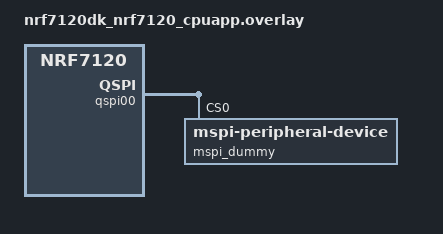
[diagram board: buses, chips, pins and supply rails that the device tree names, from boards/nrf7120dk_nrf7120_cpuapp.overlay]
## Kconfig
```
# Copyright (c) 2026 Nordic Semiconductor ASA
#
# SPDX-License-Identifier: Apache-2.0
#

mainmenu "MSPI Throughput Sample application"

config MSPI_THROUGHPUT_TOTAL_TRANSFER_SIZE
	int "Total transfer size in bytes"
	default 32768
	range 1024 1048576
	help
	  Total amount of data to transfer during each test case.
	  This value determines how much data is transferred for each
	  buffer size and packet count combination.
	  Default is 32 KB.

config MSPI_THROUGHPUT_CLOCK_FREQ
	int "MSPI clock frequency in Hz"
	default 32000000
	help
	  MSPI controller clock frequency in Hz.
	  This value determines the ideal throughput calculation and
	  sets the MSPI clock frequency.

source "Kconfig.zephyr"
```

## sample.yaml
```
sample:
  name: MSPI Throughput Sample
tests:
  sample.drivers.mspi.throughput:
    tags:
      - mspi
    filter: dt_compat_enabled("nordic,nrf-qspi-v2")
    harness: console
    harness_config:
      type: multi_line
      ordered: true
    depends_on: mspi
```

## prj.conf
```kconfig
#
# Copyright (c) 2026 Nordic Semiconductor ASA
#
# SPDX-License-Identifier: Apache-2.0
#

# Enable MSPI driver and DMA support
CONFIG_MSPI=y
CONFIG_MSPI_DMA=y

# Memory and stack configuration for very limited RAM
CONFIG_HEAP_MEM_POOL_SIZE=1024
CONFIG_MAIN_STACK_SIZE=4096

# Enable floating point for throughput calculations
CONFIG_FPU=y

# Enable CPU load measurement
CONFIG_CPU_LOAD=y
```

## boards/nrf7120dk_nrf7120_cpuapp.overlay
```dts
/*
 * Copyright (c) 2026 Nordic Semiconductor ASA
 *
 * SPDX-License-Identifier: Apache-2.0
 */

/ {
	aliases {
		dev0 = &mspi_dummy;
	};
};

&uart00 {
	status = "disabled";
};

&spi00 {
	status = "disabled";
};

&qspi00 {
	status = "okay";
	op-mode = "MSPI_OP_MODE_CONTROLLER";

	/* Dummy device so the controller has a defined target (dev_idx 0) for throughput tests. */
	mspi_dummy: mspi_dummy@0 {
		compatible = "zephyr,mspi-peripheral-device";
		reg = <0>;
		mspi-max-frequency = <32000000>;
	};
};
```

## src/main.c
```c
/*
 * Copyright (c) 2026 Nordic Semiconductor ASA
 *
 * SPDX-License-Identifier: Apache-2.0
 */

#include <zephyr/device.h>
#include <zephyr/devicetree.h>
#include <zephyr/drivers/mspi.h>
#include <zephyr/kernel.h>
#if defined(CONFIG_CPU_LOAD)
#include <zephyr/debug/cpu_load.h>
#endif

/* Test Configuration */
#define MSPI_CONTROLLER_NODE	DT_BUS(DT_ALIAS(dev0))
#define MSPI_TARGET_DEVICE_NODE DT_ALIAS(dev0)

#define MSPI_CLOCK_FREQ		CONFIG_MSPI_THROUGHPUT_CLOCK_FREQ
#define MBYTE				(1024U * 1024U)   /* bytes per MiB */
#define TOTAL_TRANSFER_SIZE CONFIG_MSPI_THROUGHPUT_TOTAL_TRANSFER_SIZE

/* bits per second in quad mode: clk * 4
 * bytes per second: (clk * 4) / 8  == clk/2
 */
#define IDEAL_BYTES_PER_SEC  ((uint64_t)MSPI_CLOCK_FREQ / 2ULL)

/* ideal MiB/s */
#define IDEAL_THROUGHPUT_MBYTE	((double)IDEAL_BYTES_PER_SEC / (double)MBYTE)

/* Test Parameters */
#define BUFFER_SIZES_COUNT  7
#define PACKET_SIZES_COUNT 3
#define TOTAL_TESTS (BUFFER_SIZES_COUNT * PACKET_SIZES_COUNT)

/* Making sure at least 1 command and address byte as not all MSPI IP's will support data only
 * transfers
 */
#define ADDR_LEN 1
#define CMD_LEN 1

#define MAX_BUFFER_SIZE 2304
#define MAX_PACKETS 16

/* Buffer sizes to test (in bytes) */
static const uint32_t buffer_sizes[BUFFER_SIZES_COUNT] = {
	4, 16, 64, 256, 1024, 1500, MAX_BUFFER_SIZE
};

/* Packet counts to test */
static const uint32_t packet_counts[PACKET_SIZES_COUNT] = {
	1, 4, MAX_PACKETS
};

/* Device references */
static const struct device *mspi_controller = DEVICE_DT_GET(MSPI_CONTROLLER_NODE);

/* Device ID from the target peripheral device node */
static const struct mspi_dev_id controller_id = MSPI_DEVICE_ID_DT(MSPI_TARGET_DEVICE_NODE);

static uint8_t tx_buffer[MAX_BUFFER_SIZE] __aligned(4);
static struct mspi_xfer_packet tx_packets[MAX_PACKETS];

/* Performance measurement variables */
static uint32_t transfer_start_cycles;
static uint32_t transfer_end_cycles;

struct test_result {
	uint16_t buffer_size;
	uint8_t packet_count;
	uint32_t transfer_cycles;	/* Store time in CPU cycles for high precision */
	double throughput_mbps;	/* Throughput in MB/s*/
#if defined(CONFIG_CPU_LOAD)
	double cpu_load_per;	  /* CPU load (%) */
#endif
	uint16_t efficiency;	/* (Actual xfer / ideal) * 100 (%) */
};

static struct test_result test_results[TOTAL_TESTS];
static uint32_t test_result_index;
#if defined(CONFIG_CPU_LOAD)
static int cpu_load_per_mille;
#endif

/* Forward declarations */
static void setup_test_buffers(void);
static int configure_mspi_device(void);
static int run_single_test(uint32_t buffer_size, uint32_t packet_count);
static void calculate_and_store_results(uint32_t buffer_size,
					uint32_t packet_count,
					uint32_t num_transfers,
					uint32_t total_buffers,
					uint32_t transfer_cycles);
static void print_test_results(void);
static void print_summary_report(void);

/* Setup test buffers with pattern */
static void setup_test_buffers(void)
{
	for (uint32_t i = 0; i < sizeof(tx_buffer); i++) {
		tx_buffer[i] = (uint8_t)(i);
	}
}

/* Configure MSPI devices for loopback test */
static int configure_mspi_device(void)
{
	int rc;

	struct mspi_dev_cfg controller_cfg = {
		.ce_num = 1,
		.freq = MSPI_CLOCK_FREQ,
		.io_mode = MSPI_IO_MODE_QUAD,
		.data_rate = MSPI_DATA_RATE_SINGLE,
		.cpp = MSPI_CPP_MODE_0,
		.endian = MSPI_XFER_BIG_ENDIAN,
		.ce_polarity = MSPI_CE_ACTIVE_LOW,
		.cmd_length = CMD_LEN,
		.addr_length = ADDR_LEN,
	};

	rc = mspi_dev_config(mspi_controller, &controller_id, MSPI_DEVICE_CONFIG_ALL,
			     &controller_cfg);
	if (rc != 0) {
		printk("Failed to configure MSPI controller: %d\n", rc);
		return rc;
	}

	return 0;
}

/* Run a single test case */
static int run_single_test(uint32_t buffer_size,
			   uint32_t packet_count)
{
	int rc;
	uint32_t total_buffers = TOTAL_TRANSFER_SIZE / buffer_size;
	uint32_t remaining_bytes = TOTAL_TRANSFER_SIZE % buffer_size;

	if (remaining_bytes > 0) {
		total_buffers++; /* Need one more buffer for remaining bytes */
	}

	/* Calculate how many transfers we need to make */
	uint32_t num_transfers = (total_buffers + packet_count - 1) / packet_count;

	if (packet_count > MAX_PACKETS) {
		printk("Packet count too high: %u (max %u)\n", packet_count, MAX_PACKETS);
		return -EINVAL;
	}

	/* Setup packets */
	for (uint32_t i = 0; i < MAX_PACKETS; i++) {
		tx_packets[i].dir = MSPI_TX;
		tx_packets[i].cmd = 0x42;
		tx_packets[i].address = 0x12;
		tx_packets[i].data_buf = tx_buffer;
		/* tx_packets[i].num_bytes will be set inside the timing loop */
	}

	/* Setup tx and rx transfer descriptions */
	struct mspi_xfer tx_xfer = {
		.xfer_mode = MSPI_DMA,
		/* tx_xfer.packets will be set inside the timing loop */
		/* tx_xfer.num_packet will be set inside the timing loop */
		.timeout = 10000,
		.cmd_length = CMD_LEN,
		.addr_length = ADDR_LEN,
		.async = false,
		.tx_dummy = 0,
	};

	printk("Total buffers = %u, Remaining bytes = %u, number of transfers = %u\n",
		total_buffers, remaining_bytes, num_transfers);

	/* Start performance measurement AFTER all packet setup is complete */
	transfer_start_cycles = k_cycle_get_32();
#if defined(CONFIG_CPU_LOAD)
	(void)cpu_load_get(true); /* Reset CPU load measurement */
#endif

	for (uint32_t transfer_idx = 0; transfer_idx < num_transfers; transfer_idx++) {
		uint32_t start_buffer = transfer_idx * packet_count;
		uint32_t end_buffer = MIN(start_buffer + packet_count, total_buffers);
		uint32_t current_buffers = end_buffer - start_buffer;

		/* Only update the num_bytes field - everything else is pre-configured */
		for (uint32_t i = 0; i < current_buffers; i++) {
			uint32_t buffer_idx = start_buffer + i;
			uint32_t current_buffer_size = (buffer_idx == total_buffers - 1 &&
							remaining_bytes > 0) ?
							remaining_bytes : buffer_size;

			tx_packets[i].num_bytes = current_buffer_size;
		}
		tx_xfer.packets = tx_packets;
		tx_xfer.num_packet = current_buffers;

		rc = mspi_transceive(mspi_controller, &controller_id, &tx_xfer);
		if (rc != 0) {
			printk("Failed to start transfer chunk %u: %d\n", transfer_idx, rc);
			return rc;
		}
	}
#if defined(CONFIG_CPU_LOAD)
	cpu_load_per_mille = cpu_load_get(true); /* Get load in per mille, reset for next test */
#endif
	transfer_end_cycles = k_cycle_get_32();

	calculate_and_store_results(buffer_size, packet_count, num_transfers, total_buffers,
				    (uint32_t)(transfer_end_cycles - transfer_start_cycles));

	printk("Test completed: buf=%u, desc=%u, cycles=%u\n",
		buffer_size, packet_count,
		(unsigned int)(transfer_end_cycles - transfer_start_cycles));

	return 0;
}

static void calculate_and_store_results(uint32_t buffer_size,
					uint32_t packet_count,
					uint32_t num_transfers,
					uint32_t total_buffers,
					uint32_t transfer_cycles)
{
	if (test_result_index >= ARRAY_SIZE(test_results)) {
		printk("Test results array full\n");
		return;
	}

	struct test_result *result = &test_results[test_result_index];

	result->buffer_size = (uint16_t)buffer_size;
	result->packet_count = (uint8_t)packet_count;
	result->transfer_cycles = transfer_cycles;

	/* Calculate throughput in MB/s */
	uint64_t timer_freq = (uint64_t)sys_clock_hw_cycles_per_sec();
	double transfer_time_sec = (double)(transfer_cycles) / (double)timer_freq;

	result->throughput_mbps  = (double)(TOTAL_TRANSFER_SIZE +
		(num_transfers*(ADDR_LEN + CMD_LEN))) / MBYTE / transfer_time_sec;

	double efficiency = (double)(result->throughput_mbps)/IDEAL_THROUGHPUT_MBYTE;
	double estimated_latency_us = 1000000.0 * (transfer_time_sec * (1.0-efficiency)
				/ (double)total_buffers);

	printk("Total transfer time = %lf s\n", transfer_time_sec);
	printk("Throughput = %lf mb/s\n", result->throughput_mbps);
	printk("Efficiency = %lf %%\n", efficiency * 100);
	printk("Estimated latency us = %lf us\n", estimated_latency_us);

#if defined(CONFIG_CPU_LOAD)
	/* CPU load (value in per mille) */
	result->cpu_load_per = (double)cpu_load_per_mille / 10.0;
	printk("CPU Load: %.2f%%\n", result->cpu_load_per);
#endif
	test_result_index++;
}

static void print_test_results(void)
{
	printk("\n\n=== TEST RESULTS ===\n");

#if defined(CONFIG_CPU_LOAD)
	printk("%-8s %-8s %-12s %-12s %-12s %-12s\n",
	       "BufSize", "PktCnt", "Time", "Throughput", "Efficiency", "CPU Load");
	printk("%-8s %-8s %-12s %-12s %-12s %-12s\n",
	       "(bytes)", "", "(us)", "(MB/s)", "(%)", "(%)");
#else
	printk("%-8s %-8s %-12s %-12s %-12s\n",
	       "BufSize", "PktCnt", "Time", "Throughput", "Efficiency");
	printk("%-8s %-8s %-12s %-12s %-12s\n",
	       "(bytes)", "", "(us)", "(MB/s)", "(%)");
#endif
	printk("-----------------------------------------------------------------\n");

	for (uint32_t i = 0; i < test_result_index; i++) {
		struct test_result *result = &test_results[i];

#if defined(CONFIG_CPU_LOAD)
		printk("%-8u %-8u %-12u %-12.3f %-12.2f %-12.2f\n",
		result->buffer_size, result->packet_count,
		result->transfer_cycles, (double)result->throughput_mbps,
		(double)100.0*(double)result->throughput_mbps/IDEAL_THROUGHPUT_MBYTE,
		(double)result->cpu_load_per);
#else
		printk("%-8u %-8u %-12u %-12.3f %-12.2f\n",
		result->buffer_size, result->packet_count,
		result->transfer_cycles, (double)result->throughput_mbps,
		(double)100.0*(double)result->throughput_mbps/IDEAL_THROUGHPUT_MBYTE);
#endif
	}
}

/* Print summary report with scaling analysis */
static void print_summary_report(void)
{
	printk("\n\n=== SUMMARY REPORT ===\n");

	/* Find best performance configurations */
	double best_tx_throughput = 0.0;
	uint32_t best_tx_buf_size = 0;
	uint32_t best_tx_desc_count = 0;

	for (uint32_t i = 0; i < test_result_index; i++) {
		struct test_result *result = &test_results[i];

		if ((double)result->throughput_mbps > best_tx_throughput) {
			best_tx_throughput = (double)result->throughput_mbps;
			best_tx_buf_size = result->buffer_size;
			best_tx_desc_count = result->packet_count;
		}
	}

	printk("Best TX Performance: %.2f MB/s (buffer size=%u, packet count=%u)\n",
			best_tx_throughput, best_tx_buf_size, best_tx_desc_count);
}

int main(void)
{
	int rc;

	printk("=== MSPI Throughput Test ===\n");
#ifdef CONFIG_MSPI_DMA
	printk("%d Byte transfer with using DMA\n", TOTAL_TRANSFER_SIZE);
#else
	printk("%d Byte transfer with CPU-driven polling\n", TOTAL_TRANSFER_SIZE);
#endif
	printk("MSPI Clock: %u MHz\n", MSPI_CLOCK_FREQ / 1000000);

	/* Check device readiness */
	if (!device_is_ready(mspi_controller)) {
		printk("MSPI controller device not ready\n");
		return -ENODEV;
	}

	/* Setup test environment */
	setup_test_buffers();

	rc = configure_mspi_device();
	if (rc != 0) {
		printk("Failed to configure MSPI devices: %d\n", rc);
		return rc;
	}

	printk("Starting throughput tests...\n");
	printk("Ideal throughput with a frequency of %d is %.3f MB/s\n", MSPI_CLOCK_FREQ,
	       (double) IDEAL_THROUGHPUT_MBYTE);

	printk("Total test cases: %u\n", TOTAL_TESTS);

	/* Delay needed for cycle measurement as other background processes must finish */
	k_msleep(500);

	/* Run all test permutations */
	for (uint32_t buf_idx = 0; buf_idx < BUFFER_SIZES_COUNT; buf_idx++) {
		for (uint32_t desc_idx = 0; desc_idx < PACKET_SIZES_COUNT; desc_idx++) {

			uint32_t buffer_size = buffer_sizes[buf_idx];
			uint32_t packet_count = packet_counts[desc_idx];

			printk("\nRunning test %u/%u: buf=%u, desc=%u\n",
					test_result_index + 1,
					TOTAL_TESTS,
					buffer_size, packet_count);

			rc = run_single_test(buffer_size, packet_count);
			if (rc != 0) {
				printk("Test failed: %d\n", rc);
				/* Continue with other tests */
			}

			/* Small delay between tests */
			k_msleep(300);
		}
	}

	/* Release controller channel */
	rc = mspi_get_channel_status(mspi_controller, 0);
	if (rc != 0) {
		printk("mspi_get_channel_status() controller failed: %d\n", rc);
	}

	/* Print results */
	print_test_results();
	print_summary_report();

	printk("=== MSPI Throughput Test Complete ===\n");

	return 0;
}
```
